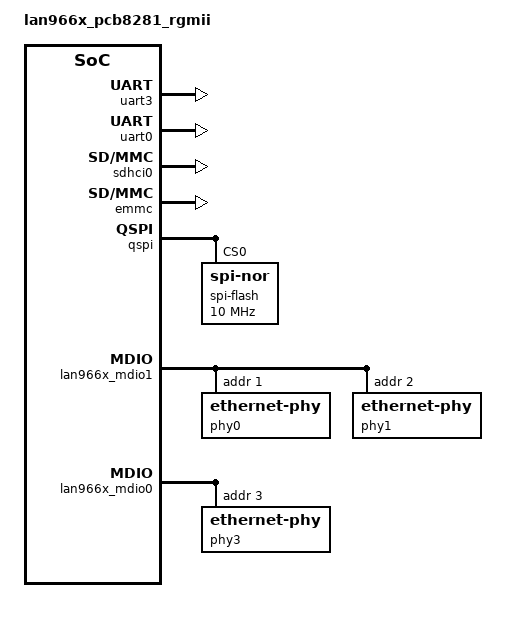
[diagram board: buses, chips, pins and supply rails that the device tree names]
/dts-v1/;
#include "lan966x.dtsi"

/ {
	model = "lan966x_pcb8281_rgmii";

	chosen {
		stdout-path = &uart3;
	};

	ahb {
		apb {
			uart3: serial@e0064200 {
				status = "okay";
				u-boot,dm-pre-reloc;
			};

			uart0: serial@e0040200 {
				status = "okay";
				u-boot,dm-pre-reloc;
			};

			sdhci0: sdhci-host@e0830000 {
				status = "okay";
			};

			emmc: emmc@e0830000 {
				status = "okay";
			};

			qspi: qspi@e0834000 {
				status = "okay";

				assigned-clocks = <&lan966x_clk GCK_ID_QSPI0>;
				assigned-clock-rates = <10000000>;

				spi-flash@0 {
					status = "okay";
					compatible = "jedec,spi-nor";
					reg = <0>;
					spi-max-frequency = <10000000>;
				};
			};

			lan966x_mdio1: mdio@413c {
				status = "okay";

				phy0: ethernet-phy@0 {
					reg = <1>;
				};
				phy1: ethernet-phy@1 {
					reg = <2>;
				};
			};

			lan966x_mdio0: mdio@4118 {
				status = "okay";

				phy3: ethernet-phy@3 {
					reg = <3>;
				};
			};

			lan966x_switch: switch@0 {
				status = "okay";

				pinctrl-0 = <&miim_a_pins>;
				pinctrl-names = "default";

				ethernet-ports {
					port3: port@3 {
						reg = <3>;
						phy-handle = <&phy3>;
						phys = <&serdes 1>;
						phy-mode = "rgmii";
					};
				};
			};
		};
	};
};
